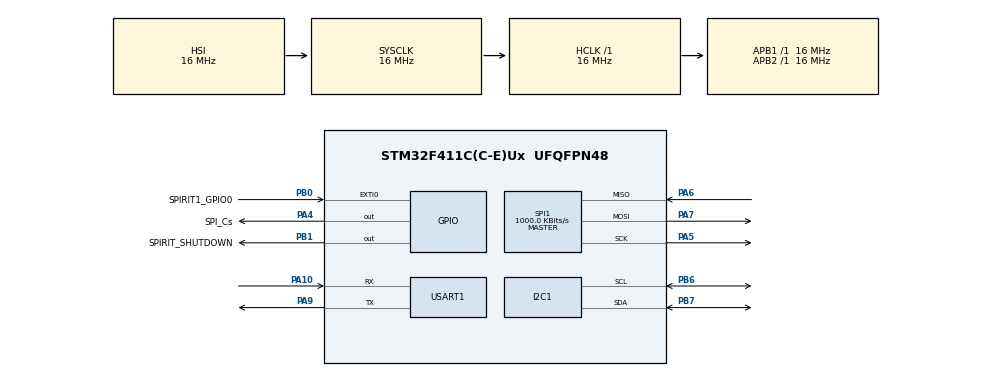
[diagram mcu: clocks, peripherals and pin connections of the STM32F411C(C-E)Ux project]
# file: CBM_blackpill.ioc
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Mcu.Family=STM32F4
Mcu.Name=STM32F411C(C-E)Ux
Mcu.Package=UFQFPN48
NVIC.EXTI0_IRQn=true\:0\:0\:false\:false\:true\:true\:true\:true
NVIC.PriorityGroup=NVIC_PRIORITYGROUP_4
NVIC.TIM2_IRQn=true\:0\:0\:false\:false\:true\:true\:true\:true
NVIC.TIM5_IRQn=true\:0\:0\:false\:false\:true\:true\:true\:true
PA10.Mode=Asynchronous
PA10.Signal=USART1_RX
PA4.GPIO_Label=SPI_Cs
PA4.Signal=GPIO_Output
PA5.Mode=Full_Duplex_Master
PA5.Signal=SPI1_SCK
PA6.Mode=Full_Duplex_Master
PA6.Signal=SPI1_MISO
PA7.Mode=Full_Duplex_Master
PA7.Signal=SPI1_MOSI
PA9.Mode=Asynchronous
PA9.Signal=USART1_TX
PB0.GPIO_Label=SPIRIT1_GPIO0
PB0.GPIO_ModeDefaultEXTI=GPIO_MODE_IT_FALLING
PB0.Signal=GPXTI0
PB1.GPIO_Label=SPIRIT_SHUTDOWN
PB1.Signal=GPIO_Output
PB6.Mode=I2C
PB6.Signal=I2C1_SCL
PB7.Mode=I2C
PB7.Signal=I2C1_SDA
ProjectManager.HeapSize=0x200
ProjectManager.StackSize=0x400
ProjectManager.TargetToolchain=STM32CubeIDE
RCC.AHBFreq_Value=16000000
RCC.APB1Freq_Value=16000000
RCC.APB2Freq_Value=16000000
RCC.CortexFreq_Value=16000000
RCC.HSE_VALUE=25000000
RCC.HSI_VALUE=16000000
RCC.LSE_VALUE=32768
RCC.SYSCLKFreq_VALUE=16000000
RCC.VCOOutputFreq_Value=192000000
SPI1.BaudRatePrescaler=SPI_BAUDRATEPRESCALER_16
SPI1.CalculateBaudRate=1000.0 KBits/s
SPI1.Direction=SPI_DIRECTION_2LINES
SPI1.Mode=SPI_MODE_MASTER
SPI1.VirtualType=VM_MASTER
TIM2.Period=20000
TIM2.Prescaler=24000
TIM5.AutoReloadPreload=TIM_AUTORELOAD_PRELOAD_ENABLE
TIM5.Period=5
TIM5.Prescaler=1000
USART1.VirtualMode=VM_ASYNC
VP_TIM2_VS_ClockSourceINT.Mode=Internal
VP_TIM5_VS_ClockSourceINT.Mode=Internal
board=custom

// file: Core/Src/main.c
/* USER CODE BEGIN Header */
/**
  ******************************************************************************
  * @file           : main.c
  * @brief          : Main program body
  ******************************************************************************
  * @attention
  *
  * Copyright (c) 2022 STMicroelectronics.
  * All rights reserved.
  *
  * This software is licensed under terms that can be found in the LICENSE file
  * in the root directory of this software component.
  * If no LICENSE file comes with this software, it is provided AS-IS.
  *
  ******************************************************************************
  */
/* USER CODE END Header */
#include "main.h"

 I2C_HandleTypeDef hi2c1;

SPI_HandleTypeDef hspi1;

TIM_HandleTypeDef htim2;
TIM_HandleTypeDef htim5;

UART_HandleTypeDef huart1;

/* USER CODE BEGIN PV */
const char *module = "main";
#define main_print_debug(str) print_debug(module, str);
#define main_printf_debug(format, ...) printf_debug(module, format, ##__VA_ARGS__);
enum states state = RECEIVE;
uint8_t interrupt_flag = 0;

struct config c;
struct nodes_info nodes;
SpiritIrqs irqStatus;

uint8_t last_message[50];
bool trigger = false;
/* USER CODE END PV */

void SystemClock_Config(void);
static void MX_GPIO_Init(void);
static void MX_I2C1_Init(void);
static void MX_SPI1_Init(void);
static void MX_USART1_UART_Init(void);
static void MX_TIM2_Init(void);
static void MX_TIM5_Init(void);

int main(void)
{

  /* MCU Configuration--------------------------------------------------------*/

  /* Reset of all peripherals, Initializes the Flash interface and the Systick. */
  HAL_Init();

  /* Configure the system clock */
  SystemClock_Config();

  /* Initialize all configured peripherals */
  MX_GPIO_Init();
  MX_I2C1_Init();
  MX_SPI1_Init();
  MX_USART1_UART_Init();
  MX_TIM2_Init();
  MX_TIM5_Init();
  /* USER CODE BEGIN 2 */
  c = config();

    main_print_debug("****************PROGRAM STARTED******************");
    main_print_debug("Peripherals initialized!");
    comm_start();

    main_print_debug("SPSGRF initialized!");

    uint8_t data[200];
    uint8_t enc_data[200];
    uint8_t dec_data[200];

    memset(enc_data,0,200);
    uint8_t len;
    struct sensor_values sensor_value;
    struct sensor_values received;
    sensor_readAcceleroRegister(0x00);
	sensor_setup();
//    sensor_value.acc.x.rms = 3.32;
//    sensor_value.acc.x.peak = 5.23;
//    sensor_value.acc.x.crest = 7.1;
//    sensor_value.acc.y.rms = 4.324;
//    sensor_value.acc.y.peak = 6.234;
//    sensor_value.acc.y.crest = 2.13;
//    sensor_value.acc.z.rms = 4.327;
//    sensor_value.acc.z.peak = 1.231;
//    sensor_value.acc.z.crest = 3.12;
//
//    sensor_value.velo.x.rms = 21.32;
//    sensor_value.velo.x.peak = 11.23;
//    sensor_value.velo.x.crest = 8.1;
//    sensor_value.velo.y.rms = 21.324;
//    sensor_value.velo.y.peak = 11.234;
//    sensor_value.velo.y.crest = 8.13;
//    sensor_value.velo.z.rms = 21.327;
//    sensor_value.velo.z.peak = 11.231;
//    sensor_value.velo.z.crest = 8.12;
//
//    sensor_value.disp.x.rms = 21.32;
//    sensor_value.disp.x.peak = 11.23;
//    sensor_value.disp.x.crest = 0;
//    sensor_value.disp.y.rms = 21.324;
//    sensor_value.disp.y.peak = 11.234;
//    sensor_value.disp.y.crest = 0;
//    sensor_value.disp.z.rms = 21.327;
//    sensor_value.disp.z.peak = 11.231;
//    sensor_value.disp.z.crest = 0;

  /* USER CODE END 2 */

  /* Infinite loop */
  /* USER CODE BEGIN WHILE */
  main_print_debug("Main loop begin");
    while (1)
    {
  	  switch(state){
  	  case PREP_DATA:
  		  // Neem een aantal samples met de accelerometer en bereken hiervan acceleratie in g (resultaat: acceleration.samples in struct)
  		  accelerometer_sample();

  		  // Converteer acceleratie naar velocity en vervolgens velocity naar displacement (resultaat: velocity.samples en displacement.samples)
  		  convert_to_velocity();
  		  convert_to_displacement();

  		  // Bereken statistieken
  		  vibration_statistics();
  		  sensor_fillStruct(&sensor_value);
  		  main_print_debug("Data send request");
  		  len = comm_request(data,sensor_value);
  		  state = ENCRYPT;
  		  break;
  	  case ENCRYPT:
  		  len = comm_encrypt(data, len, enc_data);
  		  state = SEND;
  		  break;
  	  case SEND:
  		  comm_send(enc_data, len,GATEWAY_ADDRESS);
  		  state = IDLE;
  		  break;
  	  case RECEIVE:
  		  main_print_debug("Starting RX state");
  		  SPSGRF_StartRx();
  		  state = IDLE;
  		  break;
  	  case DECRYPT:
  		  comm_decrypt(dec_data,enc_data);
  		  comm_received(dec_data,&received);
  		  state = RECEIVE;
  		  break;

  	  case IDLE:
  		  if(interrupt_flag == 1){
  			main_print_debug("Got interrupted");
  			interrupt_flag = 0;
  			if(irqStatus.IRQ_RX_DATA_READY)
  			{
  				main_print_debug("data received");
  				state = DECRYPT;
  			}
  			if(irqStatus.IRQ_RX_DATA_DISC)
  			{
  				state = RECEIVE;
  			}
  			if(irqStatus.IRQ_TX_DATA_SENT)
  			{
  				main_print_debug("Data send!");
  				state = RECEIVE;
  			}
  			if(irqStatus.IRQ_AES_END)
  			{
  				main_print_debug("Encryption done");
  				state = IDLE;
  			}
  		  }
  		  break;
  	  }

    /* USER CODE END WHILE */

    }
}

void SystemClock_Config(void)
{
  RCC_OscInitTypeDef RCC_OscInitStruct = {0};
  RCC_ClkInitTypeDef RCC_ClkInitStruct = {0};

  /** Configure the main internal regulator output voltage
  */
  __HAL_RCC_PWR_CLK_ENABLE();
  __HAL_PWR_VOLTAGESCALING_CONFIG(PWR_REGULATOR_VOLTAGE_SCALE1);

  /** Initializes the RCC Oscillators according to the specified parameters
  * in the RCC_OscInitTypeDef structure.
  */
  RCC_OscInitStruct.OscillatorType = RCC_OSCILLATORTYPE_HSI;
  RCC_OscInitStruct.HSIState = RCC_HSI_ON;
  RCC_OscInitStruct.HSICalibrationValue = RCC_HSICALIBRATION_DEFAULT;
  RCC_OscInitStruct.PLL.PLLState = RCC_PLL_NONE;
  if (HAL_RCC_OscConfig(&RCC_OscInitStruct) != HAL_OK)
  {
    Error_Handler();
  }

  /** Initializes the CPU, AHB and APB buses clocks
  */
  RCC_ClkInitStruct.ClockType = RCC_CLOCKTYPE_HCLK|RCC_CLOCKTYPE_SYSCLK
                              |RCC_CLOCKTYPE_PCLK1|RCC_CLOCKTYPE_PCLK2;
  RCC_ClkInitStruct.SYSCLKSource = RCC_SYSCLKSOURCE_HSI;
  RCC_ClkInitStruct.AHBCLKDivider = RCC_SYSCLK_DIV1;
  RCC_ClkInitStruct.APB1CLKDivider = RCC_HCLK_DIV1;
  RCC_ClkInitStruct.APB2CLKDivider = RCC_HCLK_DIV1;

  if (HAL_RCC_ClockConfig(&RCC_ClkInitStruct, FLASH_LATENCY_0) != HAL_OK)
  {
    Error_Handler();
  }
}

static void MX_I2C1_Init(void)
{

  hi2c1.Instance = I2C1;
  hi2c1.Init.ClockSpeed = 100000;
  hi2c1.Init.DutyCycle = I2C_DUTYCYCLE_2;
  hi2c1.Init.OwnAddress1 = 0;
  hi2c1.Init.AddressingMode = I2C_ADDRESSINGMODE_7BIT;
  hi2c1.Init.DualAddressMode = I2C_DUALADDRESS_DISABLE;
  hi2c1.Init.OwnAddress2 = 0;
  hi2c1.Init.GeneralCallMode = I2C_GENERALCALL_DISABLE;
  hi2c1.Init.NoStretchMode = I2C_NOSTRETCH_DISABLE;
  if (HAL_I2C_Init(&hi2c1) != HAL_OK)
  {
    Error_Handler();
  }

}

static void MX_SPI1_Init(void)
{

  /* SPI1 parameter configuration*/
  hspi1.Instance = SPI1;
  hspi1.Init.Mode = SPI_MODE_MASTER;
  hspi1.Init.Direction = SPI_DIRECTION_2LINES;
  hspi1.Init.DataSize = SPI_DATASIZE_8BIT;
  hspi1.Init.CLKPolarity = SPI_POLARITY_LOW;
  hspi1.Init.CLKPhase = SPI_PHASE_1EDGE;
  hspi1.Init.NSS = SPI_NSS_SOFT;
  hspi1.Init.BaudRatePrescaler = SPI_BAUDRATEPRESCALER_16;
  hspi1.Init.FirstBit = SPI_FIRSTBIT_MSB;
  hspi1.Init.TIMode = SPI_TIMODE_DISABLE;
  hspi1.Init.CRCCalculation = SPI_CRCCALCULATION_DISABLE;
  hspi1.Init.CRCPolynomial = 10;
  if (HAL_SPI_Init(&hspi1) != HAL_OK)
  {
    Error_Handler();
  }

}

static void MX_TIM2_Init(void)
{

  TIM_ClockConfigTypeDef sClockSourceConfig = {0};
  TIM_MasterConfigTypeDef sMasterConfig = {0};

  htim2.Instance = TIM2;
  htim2.Init.Prescaler = 24000;
  htim2.Init.CounterMode = TIM_COUNTERMODE_UP;
  htim2.Init.Period = 20000;
  htim2.Init.ClockDivision = TIM_CLOCKDIVISION_DIV1;
  htim2.Init.AutoReloadPreload = TIM_AUTORELOAD_PRELOAD_DISABLE;
  if (HAL_TIM_Base_Init(&htim2) != HAL_OK)
  {
    Error_Handler();
  }
  sClockSourceConfig.ClockSource = TIM_CLOCKSOURCE_INTERNAL;
  if (HAL_TIM_ConfigClockSource(&htim2, &sClockSourceConfig) != HAL_OK)
  {
    Error_Handler();
  }
  sMasterConfig.MasterOutputTrigger = TIM_TRGO_RESET;
  sMasterConfig.MasterSlaveMode = TIM_MASTERSLAVEMODE_DISABLE;
  if (HAL_TIMEx_MasterConfigSynchronization(&htim2, &sMasterConfig) != HAL_OK)
  {
    Error_Handler();
  }

}

static void MX_TIM5_Init(void)
{

  TIM_ClockConfigTypeDef sClockSourceConfig = {0};
  TIM_MasterConfigTypeDef sMasterConfig = {0};

  htim5.Instance = TIM5;
  htim5.Init.Prescaler = 1000;
  htim5.Init.CounterMode = TIM_COUNTERMODE_UP;
  htim5.Init.Period = 5;
  htim5.Init.ClockDivision = TIM_CLOCKDIVISION_DIV1;
  htim5.Init.AutoReloadPreload = TIM_AUTORELOAD_PRELOAD_ENABLE;
  if (HAL_TIM_Base_Init(&htim5) != HAL_OK)
  {
    Error_Handler();
  }
  sClockSourceConfig.ClockSource = TIM_CLOCKSOURCE_INTERNAL;
  if (HAL_TIM_ConfigClockSource(&htim5, &sClockSourceConfig) != HAL_OK)
  {
    Error_Handler();
  }
  sMasterConfig.MasterOutputTrigger = TIM_TRGO_RESET;
  sMasterConfig.MasterSlaveMode = TIM_MASTERSLAVEMODE_DISABLE;
  if (HAL_TIMEx_MasterConfigSynchronization(&htim5, &sMasterConfig) != HAL_OK)
  {
    Error_Handler();
  }

}

static void MX_USART1_UART_Init(void)
{

  huart1.Instance = USART1;
  huart1.Init.BaudRate = 115200;
  huart1.Init.WordLength = UART_WORDLENGTH_8B;
  huart1.Init.StopBits = UART_STOPBITS_1;
  huart1.Init.Parity = UART_PARITY_NONE;
  huart1.Init.Mode = UART_MODE_TX_RX;
  huart1.Init.HwFlowCtl = UART_HWCONTROL_NONE;
  huart1.Init.OverSampling = UART_OVERSAMPLING_16;
  if (HAL_UART_Init(&huart1) != HAL_OK)
  {
    Error_Handler();
  }

}

static void MX_GPIO_Init(void)
{
  GPIO_InitTypeDef GPIO_InitStruct = {0};

  /* GPIO Ports Clock Enable */
  __HAL_RCC_GPIOA_CLK_ENABLE();
  __HAL_RCC_GPIOB_CLK_ENABLE();

  /*Configure GPIO pin Output Level */
  HAL_GPIO_WritePin(SPI_Cs_GPIO_Port, SPI_Cs_Pin, GPIO_PIN_RESET);

  /*Configure GPIO pin Output Level */
  HAL_GPIO_WritePin(SPIRIT_SHUTDOWN_GPIO_Port, SPIRIT_SHUTDOWN_Pin, GPIO_PIN_RESET);

  /*Configure GPIO pin : SPI_Cs_Pin */
  GPIO_InitStruct.Pin = SPI_Cs_Pin;
  GPIO_InitStruct.Mode = GPIO_MODE_OUTPUT_PP;
  GPIO_InitStruct.Pull = GPIO_NOPULL;
  GPIO_InitStruct.Speed = GPIO_SPEED_FREQ_LOW;
  HAL_GPIO_Init(SPI_Cs_GPIO_Port, &GPIO_InitStruct);

  /*Configure GPIO pin : SPIRIT1_GPIO0_Pin */
  GPIO_InitStruct.Pin = SPIRIT1_GPIO0_Pin;
  GPIO_InitStruct.Mode = GPIO_MODE_IT_FALLING;
  GPIO_InitStruct.Pull = GPIO_NOPULL;
  HAL_GPIO_Init(SPIRIT1_GPIO0_GPIO_Port, &GPIO_InitStruct);

  /*Configure GPIO pin : SPIRIT_SHUTDOWN_Pin */
  GPIO_InitStruct.Pin = SPIRIT_SHUTDOWN_Pin;
  GPIO_InitStruct.Mode = GPIO_MODE_OUTPUT_PP;
  GPIO_InitStruct.Pull = GPIO_NOPULL;
  GPIO_InitStruct.Speed = GPIO_SPEED_FREQ_LOW;
  HAL_GPIO_Init(SPIRIT_SHUTDOWN_GPIO_Port, &GPIO_InitStruct);

  /* EXTI interrupt init*/
  HAL_NVIC_SetPriority(EXTI0_IRQn, 0, 0);
  HAL_NVIC_EnableIRQ(EXTI0_IRQn);

}

void Error_Handler(void)
{
  __disable_irq();
  while (1)
  {
  }
}
